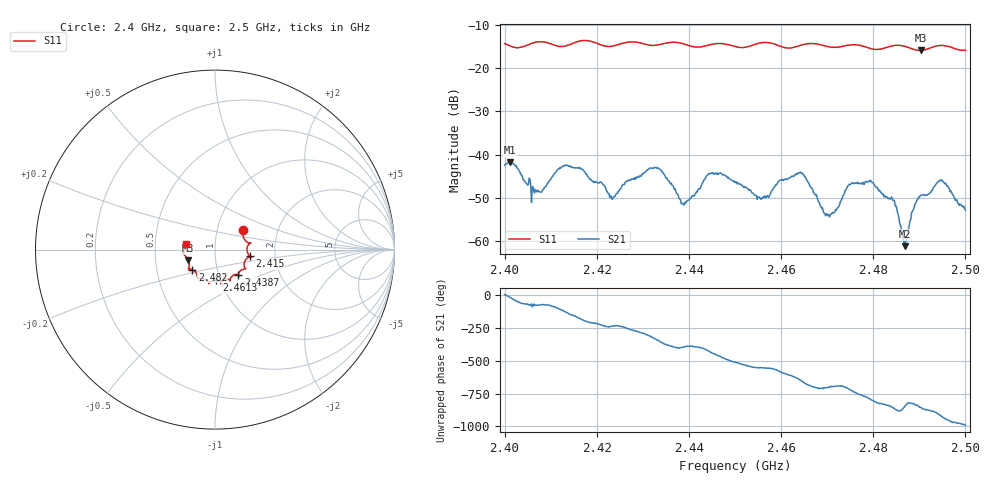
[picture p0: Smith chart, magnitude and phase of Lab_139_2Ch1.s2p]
# Hz S RI R 50
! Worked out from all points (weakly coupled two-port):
!   601 points, 2.4 GHz to 2.5 GHz, reference 50 ohm
!   highest |S21| = -41.72 dB at 2.4012 GHz (marker M1); lowest = -61.2 dB at 2.4868 GHz (marker M2)
!   lowest |S11| = -15.9 dB at 2.4903 GHz (marker M3), VSWR 1.38, Z = 36.8 - j4.44 ohm
!   |S11| at or under -10 dB: start of sweep to end of sweep
!   S12 and S22 are empty: the file has one direction only
!   S11 on the Smith chart (normalised r, x): 2.4 GHz: 1.33, +0.31; 2.415 GHz: 1.47, -0.11; 2.4387 GHz: 1.24, -0.36; 2.4613 GHz: 0.96, -0.34; 2.482 GHz: 0.76, -0.17; 2.5 GHz: 0.72, +0.05
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2.4e9  0.1574 0.1117  0.00754 0.000514  0 0  0 0
2.401167e9  0.155 0.0942  0.00781 -0.00249  0 0  0 0
2.406333e9  0.1942 0.0354  0.0014 -0.00358  0 0  0 0
2.415e9  0.1927 -0.0359  -0.00649 -0.00282  0 0  0 0
2.416667e9  0.2036 -0.0438  -0.00681 0.00056  0 0  0 0
2.423333e9  0.1625 -0.0769  -0.00168 0.00253  0 0  0 0
2.433333e9  0.1319 -0.1317  0.00678 0.00178  0 0  0 0
2.438667e9  0.1301 -0.1415  0.00221 -0.00164  0 0  0 0
2.4445e9  0.0837 -0.167  0.00208 -0.00572  0 0  0 0
2.45e9  0.069 -0.1646  -0.00415 -0.00231  0 0  0 0
2.455333e9  0.0348 -0.1923  -0.00311 0.000832  0 0  0 0
2.461333e9  0.00797 -0.1711  -0.00232 0.00468  0 0  0 0
2.464333e9  -0.0296 -0.1825  0.00221 0.00572  0 0  0 0
2.466667e9  -0.0346 -0.1904  0.00373 0.0017  0 0  0 0
2.470167e9  -0.0451 -0.1721  0.00189 0.000563  0 0  0 0
2.475167e9  -0.0939 -0.1613  0.00457 -0.000293  0 0  0 0
2.482e9  -0.1261 -0.1117  -0.00115 -0.0033  0 0  0 0
2.483333e9  -0.1398 -0.1087  -0.00162 -0.00264  0 0  0 0
2.486833e9  -0.1465 -0.1032  -0.000539 -0.000689  0 0  0 0
2.490333e9  -0.1493 -0.0588  -0.00243 -0.00234  0 0  0 0
2.494833e9  -0.1824 -0.0199  -0.00474 0.00196  0 0  0 0
2.5e9  -0.1588 0.0325  8.35e-05 0.00228  0 0  0 0
